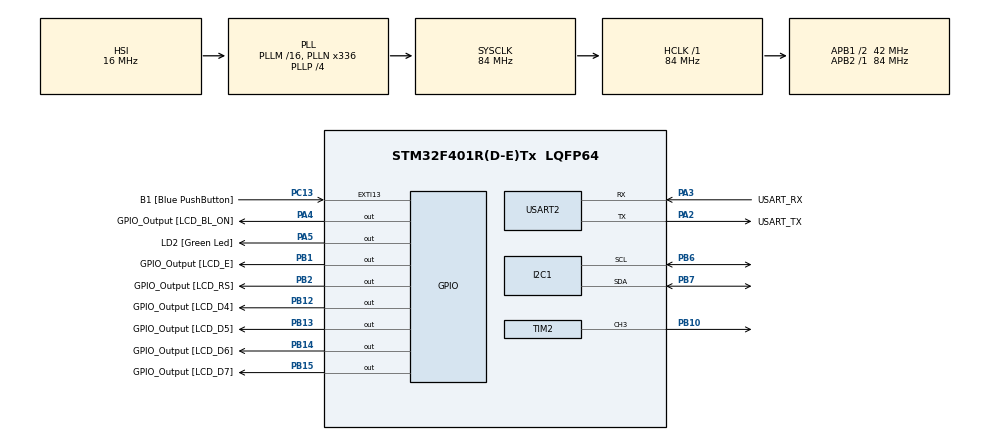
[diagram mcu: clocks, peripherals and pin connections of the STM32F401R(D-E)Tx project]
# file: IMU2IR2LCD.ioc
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Dma.I2C1_RX.0.Direction=DMA_PERIPH_TO_MEMORY
Dma.I2C1_RX.0.FIFOMode=DMA_FIFOMODE_DISABLE
Dma.I2C1_RX.0.Instance=DMA1_Stream0
Dma.I2C1_RX.0.MemDataAlignment=DMA_MDATAALIGN_BYTE
Dma.I2C1_RX.0.MemInc=DMA_MINC_ENABLE
Dma.I2C1_RX.0.Mode=DMA_NORMAL
Dma.I2C1_RX.0.PeriphDataAlignment=DMA_PDATAALIGN_BYTE
Dma.I2C1_RX.0.PeriphInc=DMA_PINC_DISABLE
Dma.I2C1_RX.0.Priority=DMA_PRIORITY_LOW
Dma.I2C1_TX.1.Direction=DMA_MEMORY_TO_PERIPH
Dma.I2C1_TX.1.FIFOMode=DMA_FIFOMODE_DISABLE
Dma.I2C1_TX.1.Instance=DMA1_Stream7
Dma.I2C1_TX.1.MemDataAlignment=DMA_MDATAALIGN_BYTE
Dma.I2C1_TX.1.MemInc=DMA_MINC_ENABLE
Dma.I2C1_TX.1.Mode=DMA_NORMAL
Dma.I2C1_TX.1.PeriphDataAlignment=DMA_PDATAALIGN_BYTE
Dma.I2C1_TX.1.PeriphInc=DMA_PINC_DISABLE
Dma.I2C1_TX.1.Priority=DMA_PRIORITY_LOW
Dma.Request0=I2C1_RX
Dma.Request1=I2C1_TX
Dma.Request2=USART2_TX
Dma.Request3=TIM3_CH4/UP
Dma.TIM3_CH4/UP.3.Direction=DMA_PERIPH_TO_MEMORY
Dma.TIM3_CH4/UP.3.FIFOMode=DMA_FIFOMODE_DISABLE
Dma.TIM3_CH4/UP.3.Instance=DMA1_Stream2
Dma.TIM3_CH4/UP.3.MemDataAlignment=DMA_MDATAALIGN_HALFWORD
Dma.TIM3_CH4/UP.3.MemInc=DMA_MINC_ENABLE
Dma.TIM3_CH4/UP.3.Mode=DMA_NORMAL
Dma.TIM3_CH4/UP.3.PeriphDataAlignment=DMA_PDATAALIGN_HALFWORD
Dma.TIM3_CH4/UP.3.PeriphInc=DMA_PINC_DISABLE
Dma.TIM3_CH4/UP.3.Priority=DMA_PRIORITY_LOW
Dma.USART2_TX.2.Direction=DMA_MEMORY_TO_PERIPH
Dma.USART2_TX.2.FIFOMode=DMA_FIFOMODE_DISABLE
Dma.USART2_TX.2.Instance=DMA1_Stream6
Dma.USART2_TX.2.MemDataAlignment=DMA_MDATAALIGN_BYTE
Dma.USART2_TX.2.MemInc=DMA_MINC_ENABLE
Dma.USART2_TX.2.Mode=DMA_NORMAL
Dma.USART2_TX.2.PeriphDataAlignment=DMA_PDATAALIGN_BYTE
Dma.USART2_TX.2.PeriphInc=DMA_PINC_DISABLE
Dma.USART2_TX.2.Priority=DMA_PRIORITY_LOW
Mcu.Family=STM32F4
Mcu.Name=STM32F401R(D-E)Tx
Mcu.Package=LQFP64
NVIC.DMA1_Stream0_IRQn=true\:0\:0\:false\:false\:true\:false\:true\:true
NVIC.DMA1_Stream2_IRQn=true\:0\:0\:false\:false\:true\:false\:true\:true
NVIC.DMA1_Stream6_IRQn=true\:0\:0\:false\:false\:true\:false\:true\:true
NVIC.DMA1_Stream7_IRQn=true\:0\:0\:false\:false\:true\:false\:true\:true
NVIC.I2C1_ER_IRQn=true\:0\:0\:false\:false\:true\:true\:true\:true
NVIC.I2C1_EV_IRQn=true\:0\:0\:false\:false\:true\:true\:true\:true
NVIC.PriorityGroup=NVIC_PRIORITYGROUP_4
NVIC.TIM2_IRQn=true\:0\:0\:false\:false\:true\:true\:true\:true
NVIC.TIM3_IRQn=true\:0\:0\:false\:false\:true\:true\:true\:true
NVIC.USART2_IRQn=true\:0\:0\:false\:false\:true\:true\:true\:true
PA13.GPIO_Label=TMS
PA13.Mode=Trace_Asynchronous_SW
PA13.Signal=SYS_JTMS-SWDIO
PA14.GPIO_Label=TCK
PA14.Mode=Trace_Asynchronous_SW
PA14.Signal=SYS_JTCK-SWCLK
PA2.GPIO_Label=USART_TX
PA2.GPIO_Mode=GPIO_MODE_AF_PP
PA2.GPIO_PuPd=GPIO_NOPULL
PA2.GPIO_Speed=GPIO_SPEED_FREQ_LOW
PA2.Mode=Asynchronous
PA2.Signal=USART2_TX
PA3.GPIO_Label=USART_RX
PA3.GPIO_Mode=GPIO_MODE_AF_PP
PA3.GPIO_PuPd=GPIO_NOPULL
PA3.GPIO_Speed=GPIO_SPEED_FREQ_LOW
PA3.Mode=Asynchronous
PA3.Signal=USART2_RX
PA4.GPIO_Label=GPIO_Output [LCD_BL_ON]
PA4.Signal=GPIO_Output
PA5.GPIO_Label=LD2 [Green Led]
PA5.GPIO_Mode=GPIO_MODE_OUTPUT_PP
PA5.GPIO_PuPd=GPIO_NOPULL
PA5.GPIO_Speed=GPIO_SPEED_FREQ_LOW
PA5.Signal=GPIO_Output
PB1.GPIO_Label=GPIO_Output [LCD_E]
PB1.Signal=GPIO_Output
PB10.Signal=S_TIM2_CH3
PB12.GPIO_Label=GPIO_Output [LCD_D4]
PB12.Signal=GPIO_Output
PB13.GPIO_Label=GPIO_Output [LCD_D5]
PB13.Signal=GPIO_Output
PB14.GPIO_Label=GPIO_Output [LCD_D6]
PB14.Signal=GPIO_Output
PB15.GPIO_Label=GPIO_Output [LCD_D7]
PB15.Signal=GPIO_Output
PB2.GPIO_Label=GPIO_Output [LCD_RS]
PB2.Signal=GPIO_Output
PB3.GPIO_Label=SWO
PB3.Mode=Trace_Asynchronous_SW
PB3.Signal=SYS_JTDO-SWO
PB6.Mode=I2C
PB6.Signal=I2C1_SCL
PB7.Mode=I2C
PB7.Signal=I2C1_SDA
PC13-ANTI_TAMP.GPIO_Label=B1 [Blue PushButton]
PC13-ANTI_TAMP.GPIO_ModeDefaultEXTI=GPIO_MODE_IT_FALLING
PC13-ANTI_TAMP.GPIO_PuPd=GPIO_NOPULL
PC13-ANTI_TAMP.Signal=GPXTI13
PC14-OSC32_IN.Mode=LSE-External-Oscillator
PC14-OSC32_IN.Signal=RCC_OSC32_IN
PC15-OSC32_OUT.Mode=LSE-External-Oscillator
PC15-OSC32_OUT.Signal=RCC_OSC32_OUT
PH0\ -\ OSC_IN.Mode=HSE-External-Clock-Source
PH0\ -\ OSC_IN.Signal=RCC_OSC_IN
PH1\ -\ OSC_OUT.Mode=HSE-External-Clock-Source
PH1\ -\ OSC_OUT.Signal=RCC_OSC_OUT
ProjectManager.HeapSize=0x200
ProjectManager.StackSize=0x400
ProjectManager.TargetToolchain=STM32CubeIDE
RCC.48MHZClocksFreq_Value=48000000
RCC.AHBFreq_Value=84000000
RCC.APB1CLKDivider=RCC_HCLK_DIV2
RCC.APB1Freq_Value=42000000
RCC.APB1TimFreq_Value=84000000
RCC.APB2Freq_Value=84000000
RCC.APB2TimFreq_Value=84000000
RCC.CortexFreq_Value=84000000
RCC.HCLKFreq_Value=84000000
RCC.HSE_VALUE=8000000
RCC.HSI_VALUE=16000000
RCC.PLLN=336
RCC.PLLP=RCC_PLLP_DIV4
RCC.PLLQ=7
RCC.SYSCLKFreq_VALUE=84000000
RCC.SYSCLKSource=RCC_SYSCLKSOURCE_PLLCLK
RCC.VCOOutputFreq_Value=336000000
SH.S_TIM2_CH3.0=TIM2_CH3,PWM Generation3 CH3
TIM2.Channel-PWM\ Generation3\ CH3=TIM_CHANNEL_3
TIM2.Period=2210
TIM2.Prescaler=0
TIM3.Period=9999
TIM3.Prescaler=8399
USART2.VirtualMode=VM_ASYNC
VP_TIM2_VS_ClockSourceINT.Mode=Internal
VP_TIM3_VS_ClockSourceINT.Mode=Internal
board=NUCLEO-F401RE

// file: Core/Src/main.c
/* USER CODE BEGIN Header */
/**
  ******************************************************************************
  * @file           : main.c
  * @brief          : Main program body
  ******************************************************************************
  * @attention
  *
  * Copyright (c) 2025 STMicroelectronics.
  * All rights reserved.
  *
  * This software is licensed under terms that can be found in the LICENSE file
  * in the root directory of this software component.
  * If no LICENSE file comes with this software, it is provided AS-IS.
  *
  ******************************************************************************
  */
/* USER CODE END Header */
#include "main.h"

/* USER CODE BEGIN Includes */
#include "PMDB16_LCD.h"
/* USER CODE END Includes */

/* USER CODE BEGIN PD */
#define LIS_ADDR (0x19 << 1) // آدرس استاندارد بردهای آزمایشگاهی PoliMi
#define CTRL_REG1 0x20
#define CTRL_REG4 0x23
#define OUT_Z_H   0x2D       // مستقیماً بایت بالای محور Z را می‌خوانیم
/* USER CODE END PD */

I2C_HandleTypeDef hi2c1;
DMA_HandleTypeDef hdma_i2c1_rx;
DMA_HandleTypeDef hdma_i2c1_tx;

TIM_HandleTypeDef htim2;
TIM_HandleTypeDef htim3;
DMA_HandleTypeDef hdma_tim3_ch4_up;

UART_HandleTypeDef huart2;
DMA_HandleTypeDef hdma_usart2_tx;

/* USER CODE BEGIN PV */
//char *names[] = {
//    "Mirko",
//    "Christian",
//    "Gabriele",
//    "Mostafa",
//    "Sunandha"
//};
uint8_t rx_buf[6];
uint8_t start_reg = OUT | 0b10000000; // Setting the first bit to 1 enables auto-increment
char string[64];
#define LIS_ADDR (0x19 << 1)
uint8_t rx_buf[1];           // فقط بایت Z_H را می‌خوانیم
char string[20];
volatile uint8_t data_ready = 0;
//int NUM_NAMES = sizeof(names)/sizeof(names[0]);
//volatile int i = 0;
/* USER CODE END PV */

void SystemClock_Config(void);
static void MX_GPIO_Init(void);
static void MX_DMA_Init(void);
static void MX_USART2_UART_Init(void);
static void MX_TIM2_Init(void);
static void MX_I2C1_Init(void);
static void MX_TIM3_Init(void);

/* USER CODE BEGIN 0 */

void HAL_TIM_PeriodElapsedCallback(TIM_HandleTypeDef *htim) {
  if (htim->Instance == TIM3) {
      data_ready = 1; // Just set a flag and get out!
  }
}
//void HAL_TIM_PeriodElapsedCallback(TIM_HandleTypeDef *htim) {
//  if (htim->Instance == TIM3) {
//	  HAL_I2C_Master_Transmit(&hi2c1, LIS2DE_ADDR, &start_reg, 1, 100);
//
//	  HAL_I2C_Master_Receive(&hi2c1, LIS2DE_ADDR, rx_buf, 6, 100);
//
////	  int8_t raw_x = (int8_t)rx_buf[1];
////	  int8_t raw_y = (int8_t)rx_buf[3];
//	  int8_t raw_z = (int8_t)rx_buf[5];
//
////	  float x_g = (float)raw_x * 0.0156f;
////	  float y_g = (float)raw_y * 0.0156f;
//	  float z_g = (float)raw_z * 0.0156f;
//
//	  int length = snprintf(string, sizeof(string), "Z: %+.2f g\r\n", z_g);
//	  lcd_println(string, 0);
////	  HAL_UART_Transmit_DMA(&huart2, (uint8_t *)string, length);
//  }
//}

/* USER CODE END 0 */

int main(void)
{

  /* MCU Configuration--------------------------------------------------------*/

  /* Reset of all peripherals, Initializes the Flash interface and the Systick. */
  HAL_Init();

  /* Configure the system clock */
  SystemClock_Config();

  /* Initialize all configured peripherals */
  MX_GPIO_Init();
  MX_DMA_Init();
  MX_USART2_UART_Init();
  MX_TIM2_Init();
  MX_I2C1_Init();
  MX_TIM3_Init();
  /* USER CODE BEGIN 2 */
  lcd_initialize();
//  lcd_println(names[i], 1);
  HAL_TIM_Base_Start_IT(&htim3);
  uint8_t i2c_buf[2];

  i2c_buf[0] = CTRL_REG1;
  i2c_buf[1] = 0x17; // ODR=1Hz (0001), Normal mode (0), ZEN, YEN, XEN (0111)
  HAL_I2C_Master_Transmit(&hi2c1, LIS2DE_ADDR, i2c_buf, 2, 100);

  i2c_buf[0] = CTRL_REG4;
  i2c_buf[1] = 0x00; // FS=±2g (00)
  HAL_I2C_Master_Transmit(&hi2c1, LIS2DE_ADDR, i2c_buf, 2, 100);

  HAL_TIM_Base_Start_IT(&htim3);
  /* USER CODE END 2 */

  /* Infinite loop */
  while (1)
  {

    /* USER CODE BEGIN 3 */
	  if (data_ready) {
	        data_ready = 0;

	        // خواندن رجیستر Z High
	        uint8_t reg = OUT_Z_H;
	        HAL_I2C_Master_Transmit(&hi2c1, LIS_ADDR, &reg, 1, 100);
	        if(HAL_I2C_Master_Receive(&hi2c1, LIS_ADDR, rx_buf, 1, 100) == HAL_OK) {

	            int8_t raw_z = (int8_t)rx_buf[0];
	            // فرمول تبدیل به شتاب بر حسب g:
	            // $$z_g = raw\_z \times 0.016$$
	            float z_g = (float)raw_z * 0.0156f;

	            snprintf(string, sizeof(string), "Z: %+.2f g", z_g);
	            lcd_println(string, 0);
  }
  /* USER CODE END 3 */
}

void SystemClock_Config(void)
{
  RCC_OscInitTypeDef RCC_OscInitStruct = {0};
  RCC_ClkInitTypeDef RCC_ClkInitStruct = {0};

  /** Configure the main internal regulator output voltage
  */
  __HAL_RCC_PWR_CLK_ENABLE();
  __HAL_PWR_VOLTAGESCALING_CONFIG(PWR_REGULATOR_VOLTAGE_SCALE2);

  /** Initializes the RCC Oscillators according to the specified parameters
  * in the RCC_OscInitTypeDef structure.
  */
  RCC_OscInitStruct.OscillatorType = RCC_OSCILLATORTYPE_HSI;
  RCC_OscInitStruct.HSIState = RCC_HSI_ON;
  RCC_OscInitStruct.HSICalibrationValue = RCC_HSICALIBRATION_DEFAULT;
  RCC_OscInitStruct.PLL.PLLState = RCC_PLL_ON;
  RCC_OscInitStruct.PLL.PLLSource = RCC_PLLSOURCE_HSI;
  RCC_OscInitStruct.PLL.PLLM = 16;
  RCC_OscInitStruct.PLL.PLLN = 336;
  RCC_OscInitStruct.PLL.PLLP = RCC_PLLP_DIV4;
  RCC_OscInitStruct.PLL.PLLQ = 7;
  if (HAL_RCC_OscConfig(&RCC_OscInitStruct) != HAL_OK)
  {
    Error_Handler();
  }

  /** Initializes the CPU, AHB and APB buses clocks
  */
  RCC_ClkInitStruct.ClockType = RCC_CLOCKTYPE_HCLK|RCC_CLOCKTYPE_SYSCLK
                              |RCC_CLOCKTYPE_PCLK1|RCC_CLOCKTYPE_PCLK2;
  RCC_ClkInitStruct.SYSCLKSource = RCC_SYSCLKSOURCE_PLLCLK;
  RCC_ClkInitStruct.AHBCLKDivider = RCC_SYSCLK_DIV1;
  RCC_ClkInitStruct.APB1CLKDivider = RCC_HCLK_DIV2;
  RCC_ClkInitStruct.APB2CLKDivider = RCC_HCLK_DIV1;

  if (HAL_RCC_ClockConfig(&RCC_ClkInitStruct, FLASH_LATENCY_2) != HAL_OK)
  {
    Error_Handler();
  }
}

static void MX_I2C1_Init(void)
{

  hi2c1.Instance = I2C1;
  hi2c1.Init.ClockSpeed = 100000;
  hi2c1.Init.DutyCycle = I2C_DUTYCYCLE_2;
  hi2c1.Init.OwnAddress1 = 0;
  hi2c1.Init.AddressingMode = I2C_ADDRESSINGMODE_7BIT;
  hi2c1.Init.DualAddressMode = I2C_DUALADDRESS_DISABLE;
  hi2c1.Init.OwnAddress2 = 0;
  hi2c1.Init.GeneralCallMode = I2C_GENERALCALL_DISABLE;
  hi2c1.Init.NoStretchMode = I2C_NOSTRETCH_DISABLE;
  if (HAL_I2C_Init(&hi2c1) != HAL_OK)
  {
    Error_Handler();
  }

}

static void MX_TIM2_Init(void)
{

  TIM_ClockConfigTypeDef sClockSourceConfig = {0};
  TIM_MasterConfigTypeDef sMasterConfig = {0};
  TIM_OC_InitTypeDef sConfigOC = {0};

  htim2.Instance = TIM2;
  htim2.Init.Prescaler = 0;
  htim2.Init.CounterMode = TIM_COUNTERMODE_UP;
  htim2.Init.Period = 2210;
  htim2.Init.ClockDivision = TIM_CLOCKDIVISION_DIV1;
  htim2.Init.AutoReloadPreload = TIM_AUTORELOAD_PRELOAD_DISABLE;
  if (HAL_TIM_Base_Init(&htim2) != HAL_OK)
  {
    Error_Handler();
  }
  sClockSourceConfig.ClockSource = TIM_CLOCKSOURCE_INTERNAL;
  if (HAL_TIM_ConfigClockSource(&htim2, &sClockSourceConfig) != HAL_OK)
  {
    Error_Handler();
  }
  if (HAL_TIM_PWM_Init(&htim2) != HAL_OK)
  {
    Error_Handler();
  }
  sMasterConfig.MasterOutputTrigger = TIM_TRGO_RESET;
  sMasterConfig.MasterSlaveMode = TIM_MASTERSLAVEMODE_DISABLE;
  if (HAL_TIMEx_MasterConfigSynchronization(&htim2, &sMasterConfig) != HAL_OK)
  {
    Error_Handler();
  }
  sConfigOC.OCMode = TIM_OCMODE_PWM1;
  sConfigOC.Pulse = 0;
  sConfigOC.OCPolarity = TIM_OCPOLARITY_HIGH;
  sConfigOC.OCFastMode = TIM_OCFAST_DISABLE;
  if (HAL_TIM_PWM_ConfigChannel(&htim2, &sConfigOC, TIM_CHANNEL_3) != HAL_OK)
  {
    Error_Handler();
  }
  HAL_TIM_MspPostInit(&htim2);

}

static void MX_TIM3_Init(void)
{

  TIM_ClockConfigTypeDef sClockSourceConfig = {0};
  TIM_MasterConfigTypeDef sMasterConfig = {0};

  htim3.Instance = TIM3;
  htim3.Init.Prescaler = 8399;
  htim3.Init.CounterMode = TIM_COUNTERMODE_UP;
  htim3.Init.Period = 9999;
  htim3.Init.ClockDivision = TIM_CLOCKDIVISION_DIV1;
  htim3.Init.AutoReloadPreload = TIM_AUTORELOAD_PRELOAD_DISABLE;
  if (HAL_TIM_Base_Init(&htim3) != HAL_OK)
  {
    Error_Handler();
  }
  sClockSourceConfig.ClockSource = TIM_CLOCKSOURCE_INTERNAL;
  if (HAL_TIM_ConfigClockSource(&htim3, &sClockSourceConfig) != HAL_OK)
  {
    Error_Handler();
  }
  sMasterConfig.MasterOutputTrigger = TIM_TRGO_RESET;
  sMasterConfig.MasterSlaveMode = TIM_MASTERSLAVEMODE_DISABLE;
  if (HAL_TIMEx_MasterConfigSynchronization(&htim3, &sMasterConfig) != HAL_OK)
  {
    Error_Handler();
  }

}

static void MX_USART2_UART_Init(void)
{

  huart2.Instance = USART2;
  huart2.Init.BaudRate = 115200;
  huart2.Init.WordLength = UART_WORDLENGTH_8B;
  huart2.Init.StopBits = UART_STOPBITS_1;
  huart2.Init.Parity = UART_PARITY_NONE;
  huart2.Init.Mode = UART_MODE_TX_RX;
  huart2.Init.HwFlowCtl = UART_HWCONTROL_NONE;
  huart2.Init.OverSampling = UART_OVERSAMPLING_16;
  if (HAL_UART_Init(&huart2) != HAL_OK)
  {
    Error_Handler();
  }

}

static void MX_DMA_Init(void)
{

  /* DMA controller clock enable */
  __HAL_RCC_DMA1_CLK_ENABLE();

  /* DMA interrupt init */
  /* DMA1_Stream0_IRQn interrupt configuration */
  HAL_NVIC_SetPriority(DMA1_Stream0_IRQn, 0, 0);
  HAL_NVIC_EnableIRQ(DMA1_Stream0_IRQn);
  /* DMA1_Stream2_IRQn interrupt configuration */
  HAL_NVIC_SetPriority(DMA1_Stream2_IRQn, 0, 0);
  HAL_NVIC_EnableIRQ(DMA1_Stream2_IRQn);
  /* DMA1_Stream6_IRQn interrupt configuration */
  HAL_NVIC_SetPriority(DMA1_Stream6_IRQn, 0, 0);
  HAL_NVIC_EnableIRQ(DMA1_Stream6_IRQn);
  /* DMA1_Stream7_IRQn interrupt configuration */
  HAL_NVIC_SetPriority(DMA1_Stream7_IRQn, 0, 0);
  HAL_NVIC_EnableIRQ(DMA1_Stream7_IRQn);

}

static void MX_GPIO_Init(void)
{
  GPIO_InitTypeDef GPIO_InitStruct = {0};

  /* GPIO Ports Clock Enable */
  __HAL_RCC_GPIOC_CLK_ENABLE();
  __HAL_RCC_GPIOH_CLK_ENABLE();
  __HAL_RCC_GPIOA_CLK_ENABLE();
  __HAL_RCC_GPIOB_CLK_ENABLE();

  /*Configure GPIO pin Output Level */
  HAL_GPIO_WritePin(GPIOA, GPIO_Output_Pin|LD2_Pin, GPIO_PIN_RESET);

  /*Configure GPIO pin Output Level */
  HAL_GPIO_WritePin(GPIOB, GPIO_OutputB1_Pin|GPIO_OutputB2_Pin|GPIO_OutputB12_Pin|GPIO_OutputB13_Pin
                          |GPIO_OutputB14_Pin|GPIO_OutputB15_Pin, GPIO_PIN_RESET);

  /*Configure GPIO pin : B1_Pin */
  GPIO_InitStruct.Pin = B1_Pin;
  GPIO_InitStruct.Mode = GPIO_MODE_IT_FALLING;
  GPIO_InitStruct.Pull = GPIO_NOPULL;
  HAL_GPIO_Init(B1_GPIO_Port, &GPIO_InitStruct);

  /*Configure GPIO pins : GPIO_Output_Pin LD2_Pin */
  GPIO_InitStruct.Pin = GPIO_Output_Pin|LD2_Pin;
  GPIO_InitStruct.Mode = GPIO_MODE_OUTPUT_PP;
  GPIO_InitStruct.Pull = GPIO_NOPULL;
  GPIO_InitStruct.Speed = GPIO_SPEED_FREQ_LOW;
  HAL_GPIO_Init(GPIOA, &GPIO_InitStruct);

  /*Configure GPIO pins : GPIO_OutputB1_Pin GPIO_OutputB2_Pin GPIO_OutputB12_Pin GPIO_OutputB13_Pin
                           GPIO_OutputB14_Pin GPIO_OutputB15_Pin */
  GPIO_InitStruct.Pin = GPIO_OutputB1_Pin|GPIO_OutputB2_Pin|GPIO_OutputB12_Pin|GPIO_OutputB13_Pin
                          |GPIO_OutputB14_Pin|GPIO_OutputB15_Pin;
  GPIO_InitStruct.Mode = GPIO_MODE_OUTPUT_PP;
  GPIO_InitStruct.Pull = GPIO_NOPULL;
  GPIO_InitStruct.Speed = GPIO_SPEED_FREQ_LOW;
  HAL_GPIO_Init(GPIOB, &GPIO_InitStruct);

}

void Error_Handler(void)
{
  __disable_irq();
  while (1)
  {
  }
}
